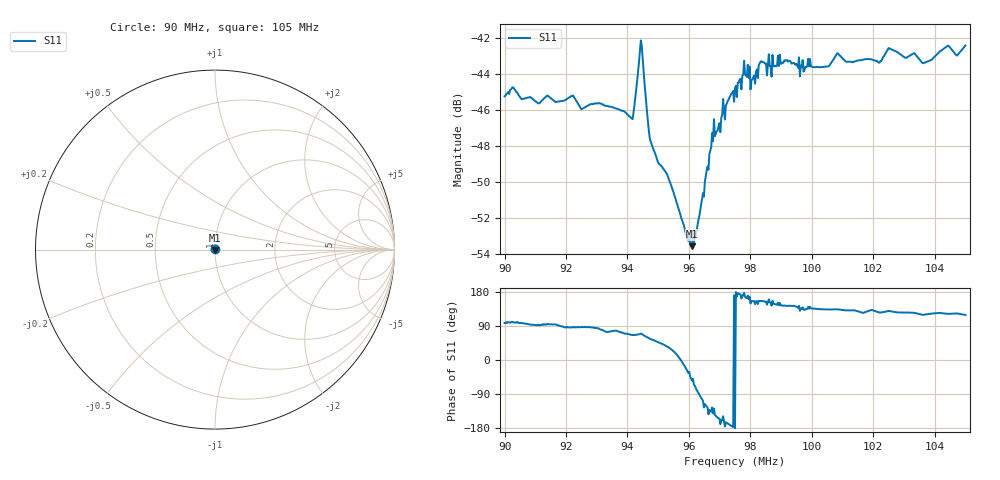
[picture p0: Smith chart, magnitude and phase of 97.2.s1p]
# HZ S RI R 50
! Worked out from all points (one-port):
!   505 points, 90 MHz to 105 MHz, reference 50 ohm
!   lowest |S11| = -53.5 dB at 96.1 MHz (marker M1), VSWR 1.00, Z = 50.1 - j0.172 ohm
!   |S11| at or under -10 dB: start of sweep to end of sweep
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9e7  -0.000722 0.00543
9.026786e7  -0.000978 0.00573
9.107143e7  -0.000179 0.00525
9.187501e7  0.000162 0.00532
9.375001e7  0.00137 0.00484
9.416668e7  0.00194 0.00432
9.443454e7  0.00274 0.00734
9.449406e7  0.00273 0.00641
9.467263e7  0.00242 0.00391
9.476192e7  0.00234 0.00335
9.562502e7  0.00268 0.000579
9.592264e7  0.00203 -0.000944
9.610121e7  0.00122 -0.00171
9.627978e7  0.000295 -0.00238
9.675597e7  -0.00251 -0.00354
9.750002e7  -0.00578 -1.41e-05
9.779764e7  -0.00687 0.000316
9.80655e7  -0.00555 0.00255
9.836312e7  -0.00626 0.0028
9.937503e7  -0.00537 0.00413
1.004762e8  -0.00456 0.00481
1.008631e8  -0.00495 0.0052
1.0125e8  -0.00448 0.00516
1.022024e8  -0.00391 0.00555
1.025298e8  -0.00469 0.00578
1.03125e8  -0.00408 0.00575
1.036608e8  -0.00337 0.0059
1.05e8  -0.00366 0.00665
